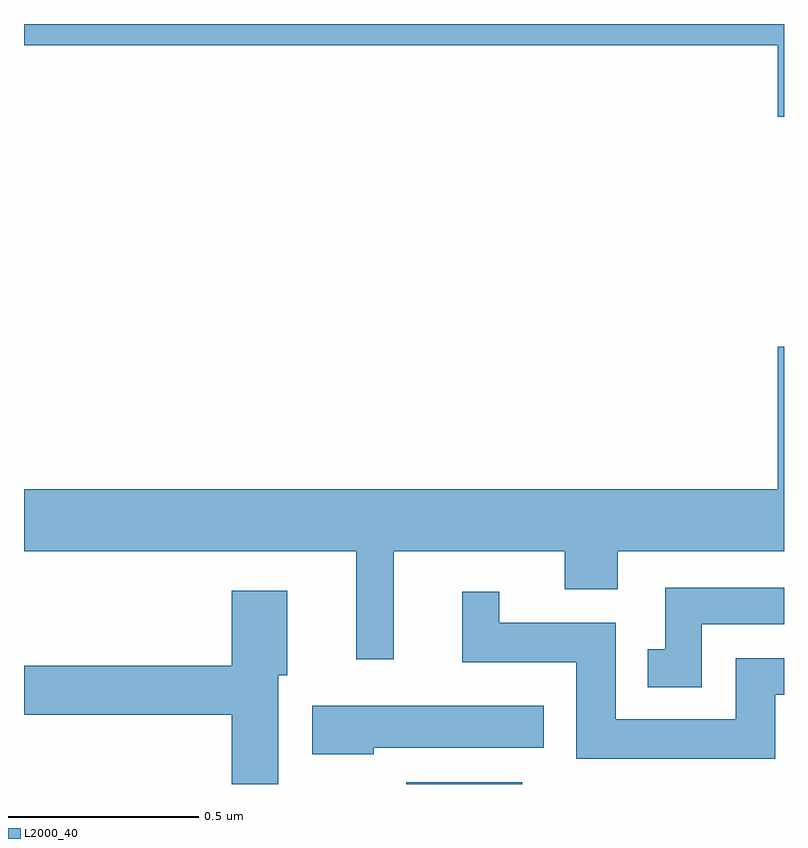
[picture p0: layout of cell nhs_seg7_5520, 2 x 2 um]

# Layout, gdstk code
import gdstk
lib = gdstk.Library(unit=1e-6, precision=1e-09)
def R(c, l, rs):  # rectangles x0, y0, x1, y1
    for r in rs: c.add(gdstk.rectangle(r[:2], r[2:], *l))
def P(c, l, *ps):  # polygons
    for p in ps: c.add(gdstk.Polygon(p, *l))
L2000_40 = (2000, 40)

nhs_seg7_5520 = lib.new_cell('nhs_seg7_5520')
R(nhs_seg7_5520, L2000_40, [(188.006,1004,188.311,1004.005)])
P(nhs_seg7_5520, L2000_40, [(189,1006),(187,1006),(187,1005.944),(188.984,1005.944),(188.984,1005.756),(189,1005.756)],
  [(187.973,1004.612),(188.423,1004.612),(188.423,1004.513),(188.563,1004.513),(188.563,1004.612),(189,1004.612),(189,1005.151),(188.984,1005.151),(188.984,1004.776),(187,1004.776),(187,1004.612),(187.874,1004.612),(187.874,1004.328),(187.973,1004.328)],
  [(188.784,1004.421),(189,1004.421),(189,1004.517),(188.688,1004.517),(188.688,1004.355),(188.642,1004.355),(188.642,1004.255),(188.784,1004.255)],
  [(187.669,1004.286),(187.693,1004.286),(187.693,1004.509),(187.547,1004.509),(187.547,1004.311),(187,1004.311),(187,1004.182),(187.547,1004.182),(187.547,1004),(187.669,1004)],
  [(188.977,1004.235),(189,1004.235),(189,1004.331),(188.873,1004.331),(188.873,1004.17),(188.557,1004.17),(188.557,1004.425),(188.251,1004.425),(188.251,1004.506),(188.153,1004.506),(188.153,1004.321),(188.453,1004.321),(188.453,1004.066),(188.977,1004.066)],
  [(187.92,1004.096),(188.368,1004.096),(188.368,1004.206),(187.758,1004.206),(187.758,1004.078),(187.92,1004.078)])

lib.write_gds('nhs_seg7_5520.gds')
